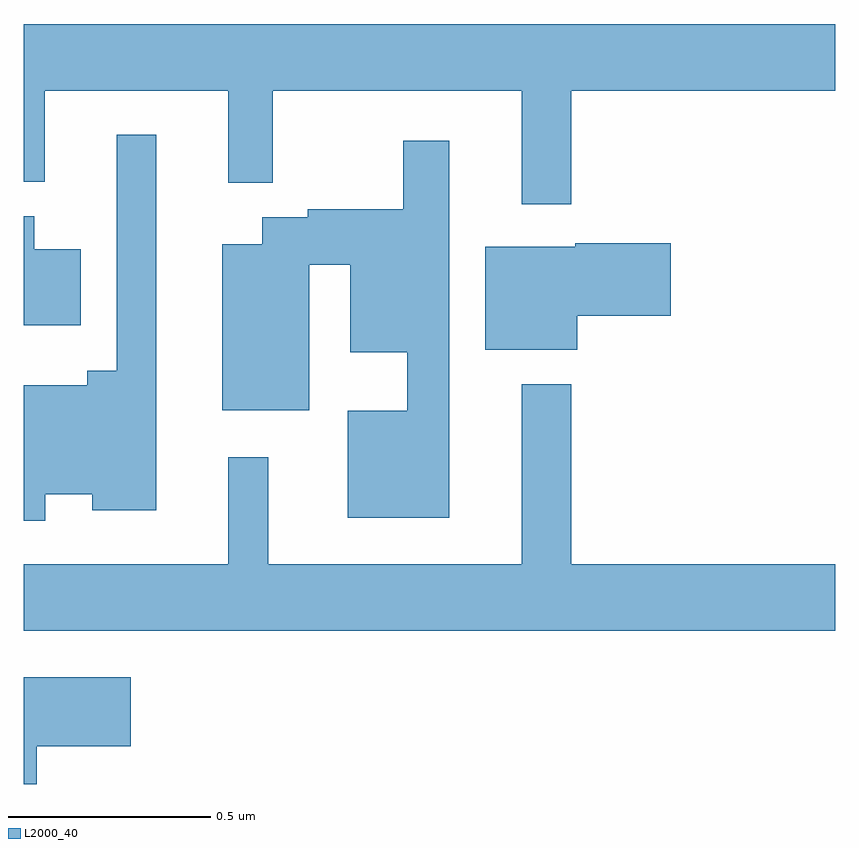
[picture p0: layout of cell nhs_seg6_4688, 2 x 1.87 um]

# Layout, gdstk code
import gdstk
lib = gdstk.Library(unit=1e-6, precision=1e-09)
def P(c, l, *ps):  # polygons
    for p in ps: c.add(gdstk.Polygon(p, *l))
L2000_40 = (2000, 40)

nhs_seg6_4688 = lib.new_cell('nhs_seg6_4688')
P(nhs_seg6_4688, L2000_40, [(174.349,947.336),(175,947.336),(175,947.5),(173,947.5),(173,947.111),(173.051,947.111),(173.051,947.336),(173.504,947.336),(173.504,947.108),(173.614,947.108),(173.614,947.336),(174.227,947.336),(174.227,947.055),(174.349,947.055)],
  [(173.052,946.34),(173.168,946.34),(173.168,946.301),(173.326,946.301),(173.326,947.227),(173.229,947.227),(173.229,946.645),(173.156,946.645),(173.156,946.609),(173,946.609),(173,946.275),(173.052,946.275)],
  [(174.049,947.212),(173.935,947.212),(173.935,947.043),(173.7,947.043),(173.7,947.023),(173.588,947.023),(173.588,946.957),(173.489,946.957),(173.489,946.547),(173.704,946.547),(173.704,946.906),(173.804,946.906),(173.804,946.691),(173.945,946.691),(173.945,946.546),(173.798,946.546),(173.798,946.283),(174.049,946.283)],
  [(173.14,946.945),(173.026,946.945),(173.026,947.026),(173,947.026),(173,946.757),(173.14,946.757)],
  [(174.364,946.781),(174.595,946.781),(174.595,946.959),(174.36,946.959),(174.36,946.951),(174.137,946.951),(174.137,946.697),(174.364,946.697)],
  [(175,946.168),(174.349,946.168),(174.349,946.612),(174.227,946.612),(174.227,946.168),(173.603,946.168),(173.603,946.432),(173.504,946.432),(173.504,946.168),(173,946.168),(173,946.004),(175,946.004)],
  [(173.032,945.719),(173.263,945.719),(173.263,945.889),(173,945.889),(173,945.626),(173.032,945.626)])

lib.write_gds('nhs_seg6_4688.gds')
